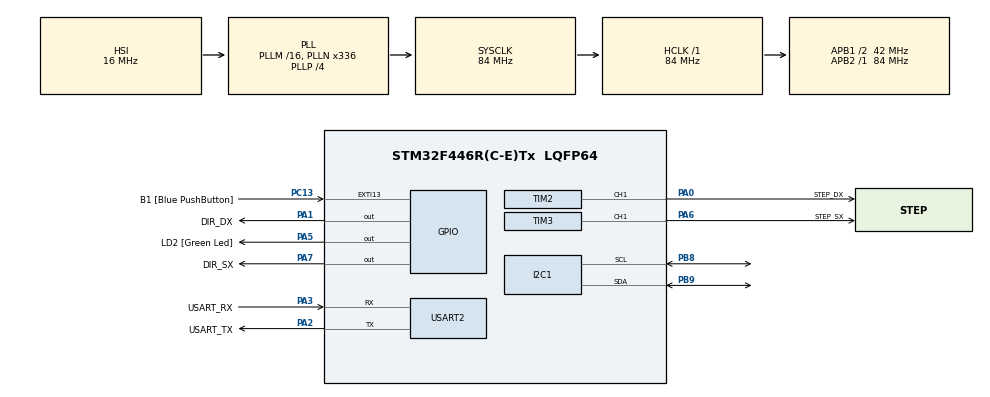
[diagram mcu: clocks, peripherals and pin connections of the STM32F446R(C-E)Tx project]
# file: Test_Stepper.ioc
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Mcu.Family=STM32F4
TIM2.Channel-Output\ Compare1\ CH1=TIM_CHANNEL_1
PH0-OSC_IN.Signal=RCC_OSC_IN
RCC.CortexFreq_Value=84000000
NVIC.TIM6_DAC_IRQn=true\:0\:0\:false\:false\:true\:true\:true
PA14.GPIO_Label=TCK
PA6.GPIO_Label=STEP_SX
PC13.GPIO_Label=B1 [Blue PushButton]
RCC.SYSCLKSource=RCC_SYSCLKSOURCE_PLLCLK
ProjectManager.StackSize=0x400
RCC.HCLKFreq_Value=84000000
RCC.APB2TimFreq_Value=84000000
TIM3.Period=99
PA1.GPIO_PuPd=GPIO_PULLDOWN
RCC.AHBFreq_Value=84000000
PH0-OSC_IN.Mode=HSE-External-Oscillator
RCC.HSE_VALUE=8000000
TIM2.OC1Preload=DISABLE
PA0-WKUP.GPIO_Speed=GPIO_SPEED_FREQ_HIGH
PA6.GPIO_PuPd=GPIO_PULLUP
PC14-OSC32_IN.Mode=LSE-External-Oscillator
PA14.Mode=Serial_Wire
TIM3.Prescaler=83
NVIC.TIM2_IRQn=true\:0\:0\:false\:false\:true\:true\:true
SH.S_TIM3_CH1.0=TIM3_CH1,Output Compare1 CH1
TIM6.Period=9999
RCC.FLatency-AdvancedSettings=FLASH_LATENCY_2
PH1-OSC_OUT.Mode=HSE-External-Oscillator
Mcu.Package=LQFP64
PB9.Signal=I2C1_SDA
TIM2.Prescaler=83
PA6.Signal=S_TIM3_CH1
TIM2.OCMode_1=TIM_OCMODE_TOGGLE
USART2.VirtualMode=VM_ASYNC
PA2.GPIO_Label=USART_TX
RCC.APB1TimFreq_Value=84000000
PA6.GPIO_Speed=GPIO_SPEED_FREQ_HIGH
VP_TIM3_VS_ClockSourceINT.Mode=Internal
PA3.Signal=USART2_RX
PB3.GPIO_Label=SWO
PC15-OSC32_OUT.Mode=LSE-External-Oscillator
TIM3.AutoReloadPreload=TIM_AUTORELOAD_PRELOAD_ENABLE
PC13.Signal=GPXTI13
TIM6.Prescaler=8399
VP_TIM6_VS_ClockSourceINT.Mode=Enable_Timer
RCC.APB1CLKDivider=RCC_HCLK_DIV2
PC14-OSC32_IN.Signal=RCC_OSC32_IN
NVIC.USART2_IRQn=true\:0\:0\:false\:false\:true\:true\:true
PA0-WKUP.GPIO_Label=STEP_DX
PA0-WKUP.Signal=S_TIM2_CH1_ETR
PA13.Signal=SYS_JTMS-SWDIO
PA3.Mode=Asynchronous
TIM6.AutoReloadPreload=TIM_AUTORELOAD_PRELOAD_DISABLE
ProjectManager.TargetToolchain=STM32CubeIDE
PB9.Mode=I2C
RCC.USBFreq_Value=168000000
PC15-OSC32_OUT.Signal=RCC_OSC32_OUT
PA7.GPIO_PuPd=GPIO_PULLDOWN
PA1.Signal=GPIO_Output
TIM3.Channel-Output\ Compare1\ CH1=TIM_CHANNEL_1
PA5.Signal=GPIO_Output
board=NUCLEO-F446RE
RCC.VCOOutputFreq_Value=336000000
NVIC.TIM3_IRQn=true\:0\:0\:false\:false\:true\:true\:true
RCC.APB2Freq_Value=84000000
TIM3.OCMode_1=TIM_OCMODE_TOGGLE
VP_TIM2_VS_ClockSourceINT.Mode=Internal
PA1.GPIO_Label=DIR_DX
TIM6.TIM_MasterOutputTrigger=TIM_TRGO_RESET
PH1-OSC_OUT.Signal=RCC_OSC_OUT
TIM2.Pulse-Output\ Compare1\ CH1=0
TIM2.Period=99
PA13.Mode=Serial_Wire
Mcu.Name=STM32F446R(C-E)Tx
PA2.Signal=USART2_TX
PA13.GPIO_Label=TMS
RCC.48MHZClocksFreq_Value=84000000
PB3.Signal=SYS_JTDO-SWO
RCC.SYSCLKFreq_VALUE=84000000
PA7.GPIO_Label=DIR_SX
PA5.GPIO_Label=LD2 [Green Led]
PC13.GPIO_ModeDefaultEXTI=GPIO_MODE_IT_FALLING
SH.S_TIM2_CH1_ETR.0=TIM2_CH1,Output Compare1 CH1
PA14.Signal=SYS_JTCK-SWCLK
ProjectManager.HeapSize=0x200
RCC.HSI_VALUE=16000000
RCC.PLLP=RCC_PLLP_DIV4
NVIC.PriorityGroup=NVIC_PRIORITYGROUP_0
PB8.Mode=I2C
RCC.PLLN=336
PA2.Mode=Asynchronous
PB8.Signal=I2C1_SCL
TIM2.AutoReloadPreload=TIM_AUTORELOAD_PRELOAD_ENABLE
PA0-WKUP.GPIO_PuPd=GPIO_PULLUP
RCC.APB1Freq_Value=42000000
PA3.GPIO_Label=USART_RX
PA7.Signal=GPIO_Output

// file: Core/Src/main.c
/* USER CODE BEGIN Header */
/**
  ******************************************************************************
  * @file           : main.c
  * @brief          : Main program body
  ******************************************************************************
  * @attention
  *
  * <h2><center>&copy; Copyright (c) 2021 STMicroelectronics.
  * All rights reserved.</center></h2>
  *
  * This software component is licensed by ST under BSD 3-Clause license,
  * the "License"; You may not use this file except in compliance with the
  * License. You may obtain a copy of the License at:
  *                        opensource.org/licenses/BSD-3-Clause
  *
  ******************************************************************************
  */
/* USER CODE END Header */
#include "main.h"

/* USER CODE BEGIN Includes */
#include "stdbool.h"
#include "stdio.h"
#include "myLib/PID.h"
#include "myLib/StepperMotor.h"
#include "math.h"
#include "arm_math.h"
/* USER CODE END Includes */

I2C_HandleTypeDef hi2c1;

TIM_HandleTypeDef htim2;
TIM_HandleTypeDef htim3;
TIM_HandleTypeDef htim6;

UART_HandleTypeDef huart2;

/* USER CODE BEGIN PV */
float pid_error, vel;
//#define steps_per_rev_motor 200
//#define microsteps_set 8
//int steps_per_rev_eff = (steps_per_rev_motor * microsteps_set * 2); // 2 perchè il periodo generato si ottiene da 2 toggle dovuti agli interrupt

//#define clk_freq 84000000
//#define prescaler 83+1
//#define counter 99+1
//#define freq_pulse (clk_freq)/((prescaler)*(counter))
//#define ms_per_pulse (2/freq_pulse)
//#define R_wheel 0.0325 // metri
//#define L_body 0.14 // metri

int clk_freq = 84000000;
int prescaler = 83+1;
int counter = 99+1;
float freq_pulse; //(clk_freq)/((prescaler)*(counter))
float s_per_pulse; // (1/freq_pulse)

//float angular_speed = steps_per_rev_eff*ms_per_pulse;
float angular_speed; // = steps_per_rev_eff*ms_per_pulse;
//float rel_speed;
int i, j, k;
//float seconds;
int j_state, k_state = 0;
uint32_t last = 0;
//float VELOCITY = 0;
//uint8_t direction;

#define STOP 	'S'
#define GO 		'G'
#define BACK 	'B'
#define LEFT 	'L'
#define RIGHT 	'R'
#define VEL		'V'
#define TEST	'T'
#define IDLE	 0

//unsigned char readBuf[1];
uint8_t read_value;
volatile ITStatus UartReady = SET; // Uart READY Flag

/* Controller parameters */
#define PID_KP  10.0f
#define PID_KI  200.0f
#define PID_KD 	 0.0f

#define PID_TAU 0.0f	/* A larger value of tau means the signal is filtered more heavily.
							As tau approaches zero, the differentiator approaches a 'pure differentiator'
							with no filtering. */

//#define PID_LIM_MIN (-281.25f)
//#define PID_LIM_MAX  (281.25f)

#define PID_LIM_MIN 		(-375.0f)
#define PID_LIM_MAX  		(375.0f)

#define PID_LIM_MIN_INT		(PID_LIM_MIN)
#define PID_LIM_MAX_INT  	(PID_LIM_MAX)

#define SAMPLE_TIME_S 		0.01f

float freq, dTime;

float pitch, roll, yaw;
float angleX = 0.0f;
float angleY = 0.0f;

uint8_t MPU6050_Calib_status = 0;
/* USER CODE END PV */

void SystemClock_Config(void);
static void MX_GPIO_Init(void);
static void MX_USART2_UART_Init(void);
static void MX_TIM2_Init(void);
static void MX_TIM3_Init(void);
static void MX_TIM6_Init(void);
static void MX_I2C1_Init(void);

/* USER CODE BEGIN 0 */

//void stopMotor(void);
void read_UART_input(void);

void USART2_IRQHandler(void){
	HAL_UART_IRQHandler(&huart2);
}

void HAL_UART_RxCpltCallback(UART_HandleTypeDef *UartHandle) {
	// Set transmission flag: transfer complete
	UartReady = SET;
}

void TIM2_IRQHandler(void) {
	j++;
	HAL_TIM_IRQHandler(&htim2);
}

void TIM3_IRQHandler(void) {
	k++;
	HAL_TIM_IRQHandler(&htim3);
}

void TIM6_DAC_IRQHandler(void) {
	HAL_TIM_IRQHandler(&htim6);
}

void HAL_TIM_PeriodElapsedCallback(TIM_HandleTypeDef *htim){
  // Check which version of the timer triggered this callback
 // if (htim == &htim6 ){
	if(htim->Instance == TIM6){
		stopMotor(&htim2,&htim3, &htim6);
		HAL_TIM_Base_Stop_IT(&htim6);
		__HAL_TIM_CLEAR_FLAG(&htim6, TIM_SR_UIF);
		__HAL_TIM_CLEAR_FLAG(&htim6, TIM_IT_UPDATE);
  }
}

//void setDirection(uint8_t dir){
//	if (dir == 0){
//		HAL_GPIO_WritePin(GPIOA, DIR_DX_Pin, GPIO_PIN_SET);
//		HAL_GPIO_WritePin(GPIOA, DIR_SX_Pin, GPIO_PIN_SET);
//	}else{
//		HAL_GPIO_WritePin(GPIOA, DIR_DX_Pin, GPIO_PIN_RESET);
//		HAL_GPIO_WritePin(GPIOA, DIR_SX_Pin, GPIO_PIN_RESET);
//	}
//}
//
//void getDirection(void){
//	if(VELOCITY>0){
//		direction = 0;
//	}else{
//		direction = 1;
//	}
//}
//
//void setSpeed(float speed){ // m/s
////	counter = (clk_freq)/((prescaler)*(freq_pulse));
////	freq_pulse = (1/s_per_pulse);
////	s_per_rev =
////	s_per_pulse = s_per_rev/steps_per_rev_eff;
////	0.32 = s_per_pulse * steps_per_rev_eff;
////	angular_speed = 2*M_PI/0.32;
//
//
//
//	rel_speed = (float)(19.635 * R_wheel);
//	float x = (float)(rel_speed/speed);	// 0.6381375
////	float x = 0.6381375/speed;
//	TIM2->ARR = (uint32_t)((100-1)*x);	// (100-1)*16
//	TIM3->ARR = (uint32_t)((100-1)*x);	// (100-1)*16
//}
//
//void setSpeedPID(float speedPID){ // deg/s
////	counter = (clk_freq)/((prescaler)*(freq_pulse));
////	freq_pulse = (1/s_per_pulse);
////	s_per_rev =
////	s_per_pulse = s_per_rev/steps_per_rev_eff;
////	0.32 = s_per_pulse * steps_per_rev_eff;
////	angular_speed = 2*M_PI/0.32;
//
//	if(speedPID < 0.0){
//		speedPID = speedPID * (-1.0f);
//	}
//
//	float x = (float)( (360.0f)/(0.32*speedPID) );	// deg/sec
//
//	//float x = (float)( (0.32*speedPID/(2*M_PI)) );	// deg/sec
//	TIM2->ARR = (uint32_t)((100-1)*x);	// (100-1)*16
//	TIM3->ARR = (uint32_t)((100-1)*x);	// (100-1)*16
//}
//
//void simpleGO(void){
//	//HAL_TIM_Base_Start_IT(&htim6);
//
//	HAL_GPIO_WritePin(GPIOA, DIR_DX_Pin, GPIO_PIN_SET);
//	HAL_GPIO_WritePin(GPIOA, DIR_SX_Pin, GPIO_PIN_SET);
//
//	if(HAL_TIM_OC_GetState(&htim2) != HAL_TIM_STATE_BUSY){
//		HAL_TIM_OC_Start_IT(&htim2, TIM_CHANNEL_1);
//	}
//
//	if(HAL_TIM_OC_GetState(&htim3) != HAL_TIM_STATE_BUSY){
//		HAL_TIM_OC_Start_IT(&htim3, TIM_CHANNEL_1);
//	}
//	readBuf[0]=0;
//}
//
//void goForward(float metri){
//	HAL_TIM_Base_Start_IT(&htim6);
//	float seconds = metri/VELOCITY;
//	TIM6->ARR = (uint32_t)(10000*seconds);
//
//	HAL_GPIO_WritePin(GPIOA, DIR_DX_Pin, GPIO_PIN_SET);
//	HAL_GPIO_WritePin(GPIOA, DIR_SX_Pin, GPIO_PIN_SET);
//	HAL_TIM_OC_Start_IT(&htim2, TIM_CHANNEL_1);
//	HAL_TIM_OC_Start_IT(&htim3, TIM_CHANNEL_1);
//	readBuf[0]=0;
//}
//
//void goBackward(float metri){
//	HAL_TIM_Base_Start_IT(&htim6);
//	float seconds = metri/VELOCITY;
//	TIM6->ARR = (uint32_t)(10000*seconds);
//
//	HAL_GPIO_WritePin(GPIOA, DIR_DX_Pin, GPIO_PIN_RESET);
//	HAL_GPIO_WritePin(GPIOA, DIR_SX_Pin, GPIO_PIN_RESET);
//	HAL_TIM_OC_Start_IT(&htim2, TIM_CHANNEL_1);
//	HAL_TIM_OC_Start_IT(&htim3, TIM_CHANNEL_1);
//	readBuf[0]=0;
//}
//
//void rotateL(float rad){
//	HAL_TIM_Base_Start_IT(&htim6);
////	float metri = rad/L_body;
//	float 	seconds = (rad*L_body)/VELOCITY;
//	TIM6->ARR = (uint32_t)(10000*seconds);
//
//	HAL_GPIO_WritePin(GPIOA, DIR_DX_Pin, GPIO_PIN_SET);
//	HAL_GPIO_WritePin(GPIOA, DIR_SX_Pin, GPIO_PIN_SET);
//	HAL_TIM_OC_Start_IT(&htim2, TIM_CHANNEL_1);
//	HAL_TIM_OC_Stop_IT(&htim3, TIM_CHANNEL_1);
//
//	readBuf[0]=0;
//}
//
//void rotateR(float rad){
//	HAL_TIM_Base_Start_IT(&htim6);
////	float metri = rad/L_body;
//	float seconds = (rad*L_body)/VELOCITY;
//	TIM6->ARR = (uint32_t)(10000*seconds);
//	HAL_GPIO_WritePin(GPIOA, DIR_DX_Pin, GPIO_PIN_SET);
//	HAL_GPIO_WritePin(GPIOA, DIR_SX_Pin, GPIO_PIN_SET);
//	HAL_TIM_OC_Stop_IT(&htim2, TIM_CHANNEL_1);
//	HAL_TIM_OC_Start_IT(&htim3, TIM_CHANNEL_1);
//	readBuf[0]=0;
//
//}
//
//void stopMotor(void){
//	HAL_TIM_OC_Stop_IT(&htim2, TIM_CHANNEL_1);
//	HAL_TIM_OC_Stop_IT(&htim3, TIM_CHANNEL_1);
//	HAL_TIM_Base_Stop_IT(&htim6);
//	__HAL_TIM_CLEAR_FLAG(&htim6, TIM_SR_UIF);
//	__HAL_TIM_CLEAR_FLAG(&htim6, TIM_IT_UPDATE);
//	readBuf[0]=0;
//	i=0; // escludo eventuali overflow
//	j=0;
//}
//
//
#define MPU6050_ADDR 0xD0

#define SMPLRT_DIV_REG 0x19
#define GYRO_CONFIG_REG 0x1B
#define ACCEL_CONFIG_REG 0x1C
#define ACCEL_XOUT_H_REG 0x3B
#define TEMP_OUT_H_REG 0x41
#define GYRO_XOUT_H_REG 0x43
#define PWR_MGMT_1_REG 0x6B
#define WHO_AM_I_REG 0x75

int16_t Accel_X_RAW = 0;
int16_t Accel_Y_RAW = 0;
int16_t Accel_Z_RAW = 0;

int16_t Gyro_X_RAW = 0;
int16_t Gyro_Y_RAW = 0;
int16_t Gyro_Z_RAW = 0;

double Ax, Ay, Az, Gx, Gy, Gz;
double Ax_angle, Ay_angle, Az_angle, Gx_angle, Gy_angle, Gz_angle;
double Ax_0, Ay_0, Az_0, Gx_0, Gy_0, Gz_0;

uint8_t check;
uint8_t Data;
void MPU6050_Init (void){
	// check device ID WHO_AM_I
	HAL_I2C_Mem_Read (&hi2c1, MPU6050_ADDR, WHO_AM_I_REG,1, &check, 1, 1000);
	if (check == 104)  // 0x68 will be returned by the sensor if everything goes well
	{
		// power management register 0X6B we should write all 0's to wake the sensor up
		Data = 0;
		HAL_I2C_Mem_Write(&hi2c1, MPU6050_ADDR, PWR_MGMT_1_REG, 1,&Data, 1, 1000);

		// Set DATA RATE of 1KHz by writing SMPLRT_DIV register
		Data = 0x07;
		HAL_I2C_Mem_Write(&hi2c1, MPU6050_ADDR, SMPLRT_DIV_REG, 1, &Data, 1, 1000);

		// Set accelerometer configuration in ACCEL_CONFIG Register
		// XA_ST=0,YA_ST=0,ZA_ST=0, FS_SEL=0 -> � 2g
		Data = 0x00;
		HAL_I2C_Mem_Write(&hi2c1, MPU6050_ADDR, ACCEL_CONFIG_REG, 1, &Data, 1, 1000);

		// Set Gyroscopic configuration in GYRO_CONFIG Register
		// XG_ST=0,YG_ST=0,ZG_ST=0, FS_SEL=0 -> � 250 �/s
		Data = 0x00;
		HAL_I2C_Mem_Write(&hi2c1, MPU6050_ADDR, GYRO_CONFIG_REG, 1, &Data, 1, 1000);
	}

}

void MPU6050_getStatus(void){
	HAL_I2C_Mem_Read (&hi2c1, MPU6050_ADDR, WHO_AM_I_REG,1, &check, 1, 1000);
	if (check != 104){
		MPU6050_Init();
	}
}

uint8_t Rec_Data_Accel[6];
void MPU6050_Read_Accel (void){
	// Read 6 BYTES of data starting from ACCEL_XOUT_H register

	HAL_I2C_Mem_Read (&hi2c1, MPU6050_ADDR, ACCEL_XOUT_H_REG, 1, Rec_Data_Accel, 6, 1000);

	Accel_X_RAW = (int16_t)(Rec_Data_Accel[0] << 8 | Rec_Data_Accel [1]);
	Accel_Y_RAW = (int16_t)(Rec_Data_Accel[2] << 8 | Rec_Data_Accel [3]);
	Accel_Z_RAW = (int16_t)(Rec_Data_Accel[4] << 8 | Rec_Data_Accel [5]);

	/*** convert the RAW values into acceleration in 'g'
	     we have to divide according to the Full scale value set in FS_SEL
	     I have configured FS_SEL = 0. So I am dividing by 16384.0
	     for more details check ACCEL_CONFIG Register              ****/

	Ax = (double)(Accel_X_RAW/16384.0);
	Ay = (double)(Accel_Y_RAW/16384.0);
	Az = (double)(Accel_Z_RAW/16384.0);

	if(MPU6050_Calib_status == 1){
//		Ax = (double)((Ax - Ax_0)* 180 / M_PI);
//		Ay = (double)((Ay - Ay_0)* 180 / M_PI);
//		Az = (double)((Az - Az_0)* 180 / M_PI);

		roll	=	(double)( (atan2(Ay, sqrt(Az*Az+Ax*Ax)))* (180.0 / M_PI) ); // [-pigreco, pigreco] ---> [0, 2pigreco]
		pitch	=	(double)( (atan2(Ax, sqrt(Az*Az+Ay*Ay)))* (-180.0 / M_PI) );
		//yaw		= 	(double)( (atan2(Az, sqrt(Ax*Ax+Ay*Ay)))* (-180.0 / M_PI) );
	}
}

uint8_t Rec_Data_Gyro[6];

void MPU6050_Read_Gyro (void){
	// Read 6 BYTES of data starting from GYRO_XOUT_H register

	HAL_I2C_Mem_Read (&hi2c1, MPU6050_ADDR, GYRO_XOUT_H_REG, 1, Rec_Data_Gyro, 6, 1000);

	Gyro_X_RAW = (int16_t)(Rec_Data_Gyro[0] << 8 | Rec_Data_Gyro [1]);
	Gyro_Y_RAW = (int16_t)(Rec_Data_Gyro[2] << 8 | Rec_Data_Gyro [3]);
	Gyro_Z_RAW = (int16_t)(Rec_Data_Gyro[4] << 8 | Rec_Data_Gyro [5]);

	/*** convert the RAW values into dps (�/s)
	     we have to divide according to the Full scale value set in FS_SEL
	     I have configured FS_SEL = 0. So I am dividing by 131.0
	     for more details check GYRO_CONFIG Register              ****/

	Gx = Gyro_X_RAW/131.0;
	Gy = Gyro_Y_RAW/131.0;
	Gz = Gyro_Z_RAW/131.0;

	if(MPU6050_Calib_status == 1){
		Gx = Gx - Gx_0;
		Gy = Gy - Gy_0;
		Gz = Gz - Gz_0;

		// angoli ottenuti solo dal giroscopio
		Gx_angle += (Gx * dTime/1000); // the gyro drifts over time
		Gy_angle += (Gy * dTime/1000); // the gyro drifts over time
		Gz_angle += (Gz * dTime/1000); // the gyro drifts over time
	}
}

void MPU6050_Calibration(void){
	  for (uint8_t i = 0; i < 100; i++) { // Take the average of 100 readings
		  MPU6050_Read_Accel();
		  MPU6050_Read_Gyro();
		  Ax_0 += Ax;
		  Ay_0 += Ay;
		  Az_0 += Az;

		  Gx_0 += Gx;
		  Gy_0 += Gy;
		  Gz_0 += Gz;

		  HAL_Delay(10);
	  }
	  Ax_0 = Ax_0/100;
	  Ay_0 = Ay_0/100;
	  Az_0 = Az_0/100;

	  Gx_0 = Gx_0/100;
	  Gy_0 = Gy_0/100;
	  Gz_0 = Gz_0/100;

	  MPU6050_Calib_status = 1;
}

void complementaryFilter(void){
	angleX = (0.97 * (angleX+Gy*(dTime/1000))) + 0.03*pitch;
	angleY = (0.97 * (angleY+Gx*(dTime/1000))) + 0.03*roll;
}

/* USER CODE END 0 */

int main(void)
{
  /* USER CODE BEGIN 1 */

	steps_per_rev_eff = (steps_per_rev_motor * microsteps_set * 2);

  /* USER CODE END 1 */

  /* MCU Configuration--------------------------------------------------------*/

  /* Reset of all peripherals, Initializes the Flash interface and the Systick. */
  HAL_Init();

  /* USER CODE BEGIN Init */

  arm_pid_instance_f32 PID;

  /* Set PID parameters */
   /* Set this for your needs */
   PID.Kp = PID_KP;        /* Proporcional */
   PID.Ki = PID_KI;        /* Integral */
   PID.Kd = PID_KD;        /* Derivative */

   /* Initialize PID system, float32_t format */
   arm_pid_init_f32(&PID, 1);

  /* Init PID controller */
  PIDController pid = { PID_KP, PID_KI, PID_KD,
                        PID_TAU,
                        PID_LIM_MIN, PID_LIM_MAX,
						PID_LIM_MIN_INT, PID_LIM_MAX_INT,
                        SAMPLE_TIME_S };

  PIDController_Init(&pid);

  /* USER CODE END Init */

  /* Configure the system clock */
  SystemClock_Config();

  /* Initialize all configured peripherals */
  MX_GPIO_Init();
  MX_USART2_UART_Init();
  MX_TIM2_Init();
  MX_TIM3_Init();
  MX_TIM6_Init();
  MX_I2C1_Init();
  /* USER CODE BEGIN 2 */
  HAL_NVIC_SetPriority(USART2_IRQn, 0, 0);
  HAL_NVIC_EnableIRQ(USART2_IRQn);

  NVIC_SetPriority(TIM2_IRQn, 0);
  NVIC_EnableIRQ(TIM2_IRQn);

  NVIC_SetPriority(TIM3_IRQn, 0);
  NVIC_EnableIRQ(TIM3_IRQn);

  NVIC_SetPriority(TIM6_DAC_IRQn, 0);
  NVIC_EnableIRQ(TIM6_DAC_IRQn);

  __enable_irq();

//  HAL_TIM_Base_Start_IT(&htim6);
  HAL_TIM_Base_Stop_IT(&htim6);
  __HAL_TIM_CLEAR_FLAG(&htim6, TIM_SR_UIF);
  __HAL_TIM_CLEAR_FLAG(&htim6, TIM_IT_UPDATE);

  HAL_TIM_OC_Start_IT(&htim2, TIM_CHANNEL_1);
  HAL_TIM_OC_Start_IT(&htim3, TIM_CHANNEL_1);

  HAL_TIM_OC_Stop_IT(&htim2, TIM_CHANNEL_1);
  HAL_TIM_OC_Stop_IT(&htim3, TIM_CHANNEL_1);

  HAL_GPIO_WritePin(GPIOA, DIR_DX_Pin, GPIO_PIN_SET);
  HAL_GPIO_WritePin(GPIOA, DIR_SX_Pin, GPIO_PIN_SET);

  MPU6050_Init();
  MPU6050_Calibration();

  float setpoint = 0.0f;

  /* USER CODE END 2 */

  /* Infinite loop */
  while (1){

    /* USER CODE BEGIN 3 */

	dTime = HAL_GetTick() - last;
	last = HAL_GetTick();
//	freq = HAL_GetTickFreq();

	MPU6050_getStatus();
	MPU6050_Read_Accel();
	MPU6050_Read_Gyro();

	read_UART_input();

//	VELOCITY = 0.6381/4;
//	setSpeed(VELOCITY);
	VELOCITY = pid.out;
	setSpeedPID(VELOCITY);

	getDirection();
	setDirection(direction);

	if ((readBuf[0] == STOP) ){
		stopMotor(&htim2,&htim3, &htim6);
	}
	if ((readBuf[0] == GO) ){
		goForward(&htim2, &htim3, &htim6, 0.1);
	}
	if ((readBuf[0] == BACK) ){
		goBackward(&htim2, &htim3, &htim6, 0.2);
	}
	if ((readBuf[0] == LEFT) ){
		rotateL(&htim2, &htim3, &htim6, M_PI/2);
	}
	if ((readBuf[0] == RIGHT) ){
		rotateR(&htim2, &htim3, &htim6, M_PI/2);
	}

	if((readBuf[0] == TEST) ){
		simpleGO(&htim2, &htim3);
	}

	complementaryFilter();

    PIDController_Update(&pid, setpoint, angleX);	//IN: angle in deg; OUT: angular speed (deg/sec)

    pid_error = pid.prevError;
    vel = arm_pid_f32(&PID, pid_error);
  }
  /* USER CODE END 3 */
}

void SystemClock_Config(void)
{
  RCC_OscInitTypeDef RCC_OscInitStruct = {0};
  RCC_ClkInitTypeDef RCC_ClkInitStruct = {0};

  /** Configure the main internal regulator output voltage
  */
  __HAL_RCC_PWR_CLK_ENABLE();
  __HAL_PWR_VOLTAGESCALING_CONFIG(PWR_REGULATOR_VOLTAGE_SCALE3);
  /** Initializes the RCC Oscillators according to the specified parameters
  * in the RCC_OscInitTypeDef structure.
  */
  RCC_OscInitStruct.OscillatorType = RCC_OSCILLATORTYPE_HSI;
  RCC_OscInitStruct.HSIState = RCC_HSI_ON;
  RCC_OscInitStruct.HSICalibrationValue = RCC_HSICALIBRATION_DEFAULT;
  RCC_OscInitStruct.PLL.PLLState = RCC_PLL_ON;
  RCC_OscInitStruct.PLL.PLLSource = RCC_PLLSOURCE_HSI;
  RCC_OscInitStruct.PLL.PLLM = 16;
  RCC_OscInitStruct.PLL.PLLN = 336;
  RCC_OscInitStruct.PLL.PLLP = RCC_PLLP_DIV4;
  RCC_OscInitStruct.PLL.PLLQ = 2;
  RCC_OscInitStruct.PLL.PLLR = 2;
  if (HAL_RCC_OscConfig(&RCC_OscInitStruct) != HAL_OK)
  {
    Error_Handler();
  }
  /** Initializes the CPU, AHB and APB buses clocks
  */
  RCC_ClkInitStruct.ClockType = RCC_CLOCKTYPE_HCLK|RCC_CLOCKTYPE_SYSCLK
                              |RCC_CLOCKTYPE_PCLK1|RCC_CLOCKTYPE_PCLK2;
  RCC_ClkInitStruct.SYSCLKSource = RCC_SYSCLKSOURCE_PLLCLK;
  RCC_ClkInitStruct.AHBCLKDivider = RCC_SYSCLK_DIV1;
  RCC_ClkInitStruct.APB1CLKDivider = RCC_HCLK_DIV2;
  RCC_ClkInitStruct.APB2CLKDivider = RCC_HCLK_DIV1;

  if (HAL_RCC_ClockConfig(&RCC_ClkInitStruct, FLASH_LATENCY_2) != HAL_OK)
  {
    Error_Handler();
  }
}

static void MX_I2C1_Init(void)
{

  hi2c1.Instance = I2C1;
  hi2c1.Init.ClockSpeed = 100000;
  hi2c1.Init.DutyCycle = I2C_DUTYCYCLE_2;
  hi2c1.Init.OwnAddress1 = 0;
  hi2c1.Init.AddressingMode = I2C_ADDRESSINGMODE_7BIT;
  hi2c1.Init.DualAddressMode = I2C_DUALADDRESS_DISABLE;
  hi2c1.Init.OwnAddress2 = 0;
  hi2c1.Init.GeneralCallMode = I2C_GENERALCALL_DISABLE;
  hi2c1.Init.NoStretchMode = I2C_NOSTRETCH_DISABLE;
  if (HAL_I2C_Init(&hi2c1) != HAL_OK)
  {
    Error_Handler();
  }

}

static void MX_TIM2_Init(void)
{

  TIM_ClockConfigTypeDef sClockSourceConfig = {0};
  TIM_MasterConfigTypeDef sMasterConfig = {0};
  TIM_OC_InitTypeDef sConfigOC = {0};

  htim2.Instance = TIM2;
  htim2.Init.Prescaler = 83;
  htim2.Init.CounterMode = TIM_COUNTERMODE_UP;
  htim2.Init.Period = 99;
  htim2.Init.ClockDivision = TIM_CLOCKDIVISION_DIV1;
  htim2.Init.AutoReloadPreload = TIM_AUTORELOAD_PRELOAD_ENABLE;
  if (HAL_TIM_Base_Init(&htim2) != HAL_OK)
  {
    Error_Handler();
  }
  sClockSourceConfig.ClockSource = TIM_CLOCKSOURCE_INTERNAL;
  if (HAL_TIM_ConfigClockSource(&htim2, &sClockSourceConfig) != HAL_OK)
  {
    Error_Handler();
  }
  if (HAL_TIM_OC_Init(&htim2) != HAL_OK)
  {
    Error_Handler();
  }
  sMasterConfig.MasterOutputTrigger = TIM_TRGO_RESET;
  sMasterConfig.MasterSlaveMode = TIM_MASTERSLAVEMODE_DISABLE;
  if (HAL_TIMEx_MasterConfigSynchronization(&htim2, &sMasterConfig) != HAL_OK)
  {
    Error_Handler();
  }
  sConfigOC.OCMode = TIM_OCMODE_TOGGLE;
  sConfigOC.Pulse = 0;
  sConfigOC.OCPolarity = TIM_OCPOLARITY_HIGH;
  sConfigOC.OCFastMode = TIM_OCFAST_DISABLE;
  if (HAL_TIM_OC_ConfigChannel(&htim2, &sConfigOC, TIM_CHANNEL_1) != HAL_OK)
  {
    Error_Handler();
  }
  HAL_TIM_MspPostInit(&htim2);

}

static void MX_TIM3_Init(void)
{

  TIM_ClockConfigTypeDef sClockSourceConfig = {0};
  TIM_MasterConfigTypeDef sMasterConfig = {0};
  TIM_OC_InitTypeDef sConfigOC = {0};

  htim3.Instance = TIM3;
  htim3.Init.Prescaler = 83;
  htim3.Init.CounterMode = TIM_COUNTERMODE_UP;
  htim3.Init.Period = 99;
  htim3.Init.ClockDivision = TIM_CLOCKDIVISION_DIV1;
  htim3.Init.AutoReloadPreload = TIM_AUTORELOAD_PRELOAD_ENABLE;
  if (HAL_TIM_Base_Init(&htim3) != HAL_OK)
  {
    Error_Handler();
  }
  sClockSourceConfig.ClockSource = TIM_CLOCKSOURCE_INTERNAL;
  if (HAL_TIM_ConfigClockSource(&htim3, &sClockSourceConfig) != HAL_OK)
  {
    Error_Handler();
  }
  if (HAL_TIM_OC_Init(&htim3) != HAL_OK)
  {
    Error_Handler();
  }
  sMasterConfig.MasterOutputTrigger = TIM_TRGO_RESET;
  sMasterConfig.MasterSlaveMode = TIM_MASTERSLAVEMODE_DISABLE;
  if (HAL_TIMEx_MasterConfigSynchronization(&htim3, &sMasterConfig) != HAL_OK)
  {
    Error_Handler();
  }
  sConfigOC.OCMode = TIM_OCMODE_TOGGLE;
  sConfigOC.Pulse = 0;
  sConfigOC.OCPolarity = TIM_OCPOLARITY_HIGH;
  sConfigOC.OCFastMode = TIM_OCFAST_DISABLE;
  if (HAL_TIM_OC_ConfigChannel(&htim3, &sConfigOC, TIM_CHANNEL_1) != HAL_OK)
  {
    Error_Handler();
  }
  HAL_TIM_MspPostInit(&htim3);

}

static void MX_TIM6_Init(void)
{

  TIM_MasterConfigTypeDef sMasterConfig = {0};

  htim6.Instance = TIM6;
  htim6.Init.Prescaler = 8399;
  htim6.Init.CounterMode = TIM_COUNTERMODE_UP;
  htim6.Init.Period = 9999;
  htim6.Init.AutoReloadPreload = TIM_AUTORELOAD_PRELOAD_DISABLE;
  if (HAL_TIM_Base_Init(&htim6) != HAL_OK)
  {
    Error_Handler();
  }
  sMasterConfig.MasterOutputTrigger = TIM_TRGO_RESET;
  sMasterConfig.MasterSlaveMode = TIM_MASTERSLAVEMODE_DISABLE;
  if (HAL_TIMEx_MasterConfigSynchronization(&htim6, &sMasterConfig) != HAL_OK)
  {
    Error_Handler();
  }
  /* USER CODE BEGIN TIM6_Init 2 */
  // __HAL_TIM_CLEAR_FLAG(&htim6, TIM_SR_UIF);//Add this statement to solve the problem

  /* USER CODE END TIM6_Init 2 */

}

static void MX_USART2_UART_Init(void)
{

  huart2.Instance = USART2;
  huart2.Init.BaudRate = 115200;
  huart2.Init.WordLength = UART_WORDLENGTH_8B;
  huart2.Init.StopBits = UART_STOPBITS_1;
  huart2.Init.Parity = UART_PARITY_NONE;
  huart2.Init.Mode = UART_MODE_TX_RX;
  huart2.Init.HwFlowCtl = UART_HWCONTROL_NONE;
  huart2.Init.OverSampling = UART_OVERSAMPLING_16;
  if (HAL_UART_Init(&huart2) != HAL_OK)
  {
    Error_Handler();
  }

}

static void MX_GPIO_Init(void)
{
  GPIO_InitTypeDef GPIO_InitStruct = {0};

  /* GPIO Ports Clock Enable */
  __HAL_RCC_GPIOC_CLK_ENABLE();
  __HAL_RCC_GPIOH_CLK_ENABLE();
  __HAL_RCC_GPIOA_CLK_ENABLE();
  __HAL_RCC_GPIOB_CLK_ENABLE();

  /*Configure GPIO pin Output Level */
  HAL_GPIO_WritePin(GPIOA, DIR_DX_Pin|LD2_Pin|DIR_SX_Pin, GPIO_PIN_RESET);

  /*Configure GPIO pin : B1_Pin */
  GPIO_InitStruct.Pin = B1_Pin;
  GPIO_InitStruct.Mode = GPIO_MODE_IT_FALLING;
  GPIO_InitStruct.Pull = GPIO_NOPULL;
  HAL_GPIO_Init(B1_GPIO_Port, &GPIO_InitStruct);

  /*Configure GPIO pins : DIR_DX_Pin DIR_SX_Pin */
  GPIO_InitStruct.Pin = DIR_DX_Pin|DIR_SX_Pin;
  GPIO_InitStruct.Mode = GPIO_MODE_OUTPUT_PP;
  GPIO_InitStruct.Pull = GPIO_PULLDOWN;
  GPIO_InitStruct.Speed = GPIO_SPEED_FREQ_LOW;
  HAL_GPIO_Init(GPIOA, &GPIO_InitStruct);

  /*Configure GPIO pin : LD2_Pin */
  GPIO_InitStruct.Pin = LD2_Pin;
  GPIO_InitStruct.Mode = GPIO_MODE_OUTPUT_PP;
  GPIO_InitStruct.Pull = GPIO_NOPULL;
  GPIO_InitStruct.Speed = GPIO_SPEED_FREQ_LOW;
  HAL_GPIO_Init(LD2_GPIO_Port, &GPIO_InitStruct);

}

/* USER CODE BEGIN 4 */
void read_UART_input() {
	if(UartReady == SET) {
		UartReady = RESET;
		HAL_UART_Receive_IT(&huart2, (uint8_t*)readBuf, 1);
		//read_value = atoi(readBuf);
	}
}
/* USER CODE END 4 */

void Error_Handler(void)
{
  __disable_irq();
  while (1)
  {
  }
}

/************************ (C) COPYRIGHT STMicroelectronics *****END OF FILE****/
